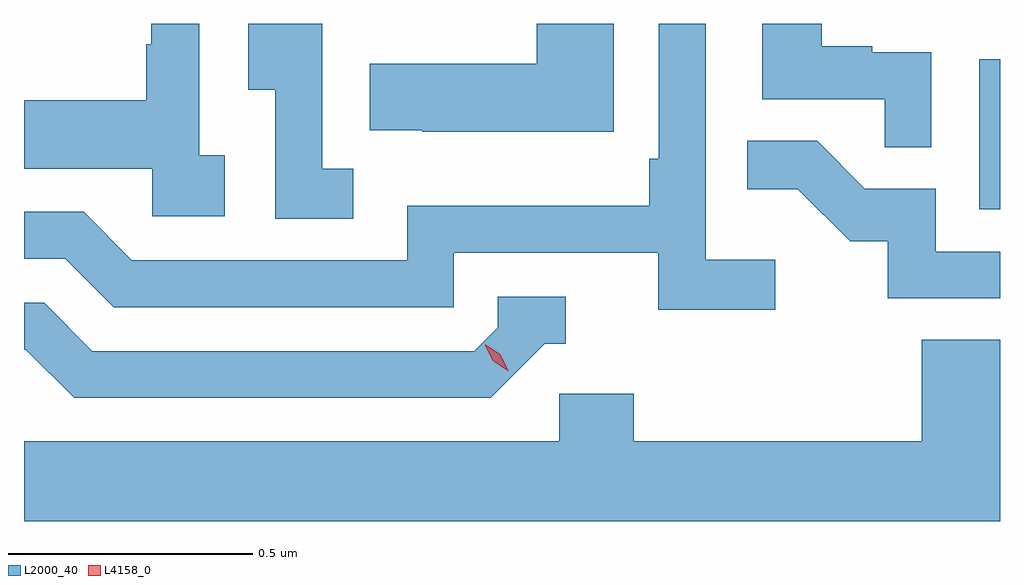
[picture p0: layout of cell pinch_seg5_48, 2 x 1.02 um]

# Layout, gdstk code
import gdstk
lib = gdstk.Library(unit=1e-6, precision=1e-09)
def R(c, l, rs):  # rectangles x0, y0, x1, y1
    for r in rs: c.add(gdstk.rectangle(r[:2], r[2:], *l))
def P(c, l, *ps):  # polygons
    for p in ps: c.add(gdstk.Polygon(p, *l))
L2000_40 = (2000, 40)
L4158_0 = (4158, 0)

pinch_seg5_48 = lib.new_cell('pinch_seg5_48')
R(pinch_seg5_48, L2000_40, [(1093.988,898.692,1094.031,898.999)])
P(pinch_seg5_48, L2000_40, [(1092.706,898.775),(1092.642,898.775),(1092.642,899.072),(1092.491,899.072),(1092.491,898.936),(1092.546,898.936),(1092.546,898.672),(1092.706,898.672)],
  [(1093.57,898.588),(1093.428,898.588),(1093.428,899.072),(1093.332,899.072),(1093.332,898.795),(1093.312,898.795),(1093.312,898.699),(1092.816,898.699),(1092.816,898.587),(1092.252,898.587),(1092.153,898.686),(1092.031,898.686),(1092.031,898.59),(1092.116,898.59),(1092.215,898.491),(1092.912,898.491),(1092.912,898.602),(1093.331,898.602),(1093.331,898.486),(1093.57,898.486)],
  [(1093.89,899.013),(1093.769,899.013),(1093.769,899.026),(1093.666,899.026),(1093.666,899.072),(1093.544,899.072),(1093.544,898.917),(1093.795,898.917),(1093.795,898.819),(1093.89,898.819)],
  [(1092.442,898.802),(1092.39,898.802),(1092.39,899.072),(1092.292,899.072),(1092.292,899.03),(1092.282,899.03),(1092.282,898.915),(1092.031,898.915),(1092.031,898.775),(1092.294,898.775),(1092.294,898.677),(1092.442,898.677)],
  [(1093.24,899.072),(1093.082,899.072),(1093.082,898.99),(1092.739,898.99),(1092.739,898.853),(1092.847,898.853),(1092.847,898.85),(1093.24,898.85)],
  [(1094.031,898.605),(1093.899,898.605),(1093.899,898.734),(1093.754,898.734),(1093.656,898.832),(1093.513,898.832),(1093.513,898.733),(1093.617,898.733),(1093.724,898.626),(1093.801,898.626),(1093.801,898.509),(1094.031,898.509)],
  [(1093.098,898.416),(1093.141,898.416),(1093.141,898.512),(1093.002,898.512),(1093.002,898.449),(1092.954,898.401),(1092.171,898.401),(1092.072,898.5),(1092.031,898.5),(1092.031,898.404),(1092.035,898.404),(1092.134,898.305),(1092.987,898.305)],
  [(1094.031,898.424),(1093.871,898.424),(1093.871,898.216),(1093.28,898.216),(1093.28,898.314),(1093.128,898.314),(1093.128,898.216),(1092.031,898.216),(1092.031,898.052),(1094.031,898.052)])
P(pinch_seg5_48, L4158_0, [(1093.022,898.361),(1092.992,898.381),(1092.976,898.413),(1092.976,898.414),(1092.977,898.414),(1093.007,898.394),(1093.023,898.361),(1093.023,898.361)])

lib.write_gds('pinch_seg5_48.gds')
